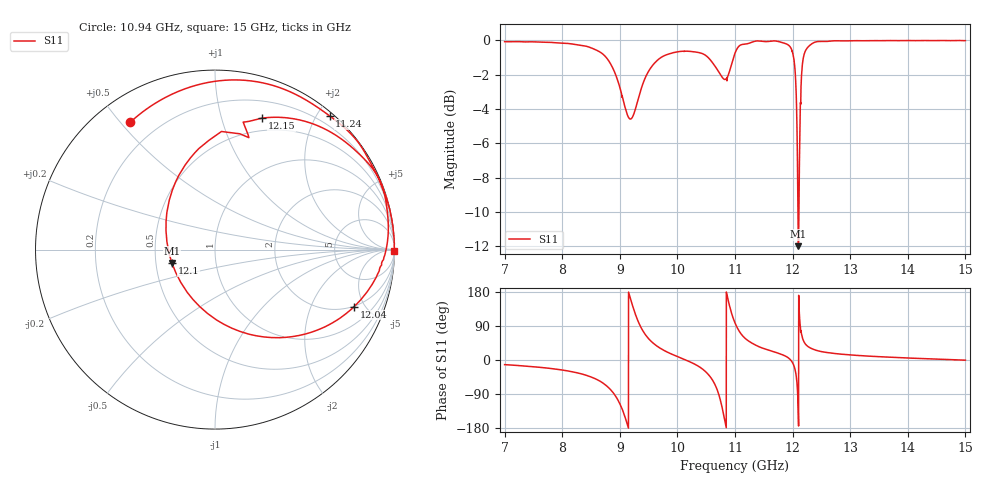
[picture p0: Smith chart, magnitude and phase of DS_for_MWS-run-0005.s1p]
! TOUCHSTONE file generated by CST DESIGN STUDIO
! Date and time: Mon Feb 10 16:41:32 2025
! Project name: C:\Work\MatlabApps\UnitCellType2OptimizationMatlab\CST\unitcell.cst
! Tree item: Tasks\Sweep1\SPara1\S-Parameters
! Header version: 2024
! Port assignment regex: !\s*Touchstone port\s*([0-9]+)\s*=\s*(CST MWS port|CST DES external port|CST DES block port)\s*(.+)\s* \(\"(.*)\"\)(\s*mode\s*([0-9]+))?.*
! Touchstone port assignment:
! Touchstone port 1 = CST DES external port 1 ("")
# GHz S MA R 50
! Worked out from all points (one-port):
!   4001 points, 7 GHz to 15 GHz, reference 50 ohm
!   lowest |S11| = -12.0 dB at 12.1 GHz (marker M1), VSWR 1.67, Z = 30.4 - j4.86 ohm
!   |S11| at or under -10 dB: 12.09302 GHz to 12.11006 GHz (17.03 MHz wide, 0.141 % of centre)
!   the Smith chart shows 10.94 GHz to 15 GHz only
!   S11 on the Smith chart (normalised r, x): 10.94 GHz: 0.10, +0.53; 11.24 GHz: 0.05, +2.17; 12.04 GHz: 1.97, -4.19; 12.1 GHz: 0.61, -0.10; 12.15 GHz: 0.36, +1.36; 15 GHz: open
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7  0.992 -12.2
8  0.9821 -26.4
8.63  0.9307 -53.6
8.86  0.8426 -81.8
9  0.7304 -115.4
9.166  0.592 172.0
9.362  0.7145 87.7
9.618  0.8643 39.8
10  0.9264 9.1
10.478  0.9076 -29.2
10.612  0.8603 -53.7
10.712  0.8131 -87.9
10.772  0.7834 -122.3
10.836  0.7705 -169.8
10.94  0.8524 123.5
11  0.9183 97.9
11.242  0.9812 49.4
11.846  0.983 12.4
12  0.923 -7.3
12.038  0.8374 -22.3
12.068  0.6479 -48.5
12.102  0.2513 -162.6
12.152  0.7789 70.2
12.214  0.9256 43.8
12.32  0.9744 30.8
13  0.9987 13.5
14  0.9995 5.3
15  0.9986 -0.5
